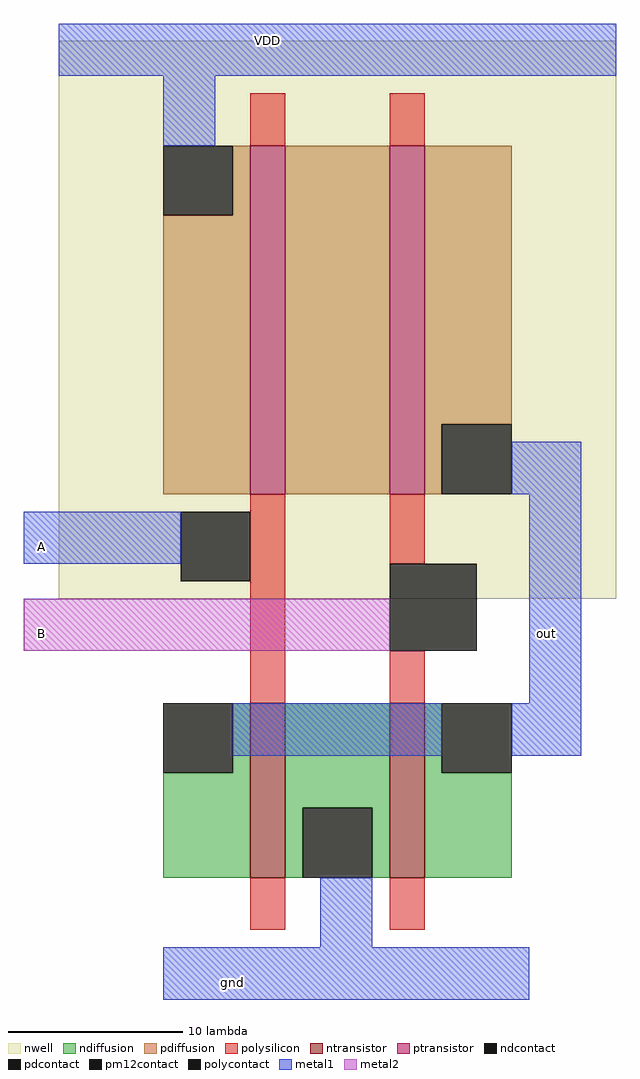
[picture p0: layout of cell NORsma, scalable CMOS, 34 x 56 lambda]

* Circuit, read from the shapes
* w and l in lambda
.subckt NORsma A B VDD gnd out
M1 gnd A out VSUBS nfet w=10 l=2
M2 out B gnd VSUBS nfet w=10 l=2
M3 n1 A VDD n2 pfet w=20 l=2
M4 out B n1 n2 pfet w=20 l=2
.ends

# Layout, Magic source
magic
tech scmos
<< nwell >>
rect 191 -48 223 -16
<< ntransistor >>
rect 202 -64 204 -54
rect 210 -64 212 -54
<< ptransistor >>
rect 202 -42 204 -22
rect 210 -42 212 -22
<< ndiffusion >>
rect 201 -58 202 -54
rect 197 -64 202 -58
rect 204 -60 210 -54
rect 204 -64 205 -60
rect 209 -64 210 -60
rect 212 -58 213 -54
rect 212 -64 217 -58
<< pdiffusion >>
rect 201 -26 202 -22
rect 197 -42 202 -26
rect 204 -42 210 -22
rect 212 -38 217 -22
rect 212 -42 213 -38
<< ndcontact >>
rect 197 -58 201 -54
rect 205 -64 209 -60
rect 213 -58 217 -54
<< pdcontact >>
rect 197 -26 201 -22
rect 213 -42 217 -38
<< polysilicon >>
rect 202 -22 204 -19
rect 210 -22 212 -19
rect 202 -54 204 -42
rect 210 -46 212 -42
rect 210 -54 212 -51
rect 202 -67 204 -64
rect 210 -67 212 -64
<< polycontact >>
rect 198 -47 202 -43
<< metal1 >>
rect 191 -18 223 -15
rect 197 -22 200 -18
rect 217 -42 221 -39
rect 189 -46 198 -43
rect 218 -54 221 -42
rect 201 -57 213 -54
rect 217 -57 221 -54
rect 206 -68 209 -64
rect 197 -71 218 -68
<< pm12contact >>
rect 210 -51 215 -46
<< metal2 >>
rect 189 -51 210 -48
<< labels >>
rlabel metal1 219 -50 219 -50 7 out
rlabel metal2 190 -50 190 -50 3 B
rlabel metal1 190 -45 190 -45 3 A
rlabel metal1 203 -16 203 -16 5 VDD
rlabel metal1 201 -70 201 -70 1 gnd
<< end >>
